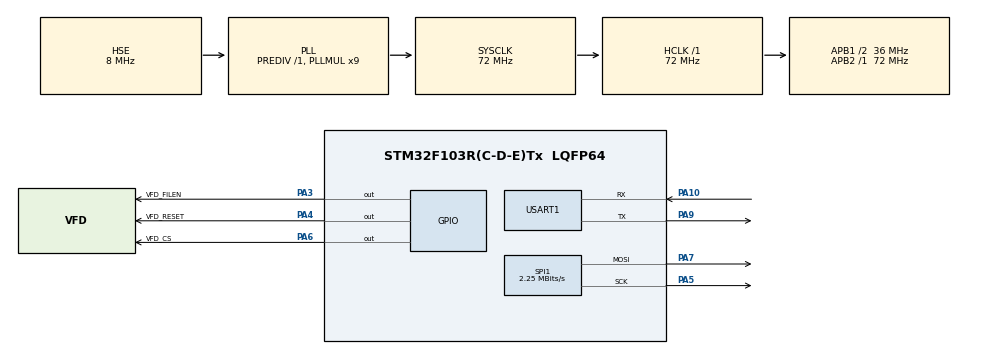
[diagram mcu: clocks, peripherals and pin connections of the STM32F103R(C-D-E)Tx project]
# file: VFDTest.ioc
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Mcu.Family=STM32F1
Mcu.Name=STM32F103R(C-D-E)Tx
Mcu.Package=LQFP64
NVIC.PriorityGroup=NVIC_PRIORITYGROUP_4
PA10.Mode=Asynchronous
PA10.Signal=USART1_RX
PA3.GPIO_Label=VFD_FILEN
PA3.Signal=GPIO_Output
PA4.GPIO_Label=VFD_RESET
PA4.GPIO_Speed=GPIO_SPEED_FREQ_HIGH
PA4.Signal=GPIO_Output
PA5.Mode=TX_Only_Simplex_Unidirect_Master
PA5.Signal=SPI1_SCK
PA6.GPIO_Label=VFD_CS
PA6.GPIO_Speed=GPIO_SPEED_FREQ_HIGH
PA6.PinState=GPIO_PIN_SET
PA6.Signal=GPIO_Output
PA7.Mode=TX_Only_Simplex_Unidirect_Master
PA7.Signal=SPI1_MOSI
PA9.Mode=Asynchronous
PA9.Signal=USART1_TX
PC14-OSC32_IN.Mode=LSE-External-Oscillator
PC14-OSC32_IN.Signal=RCC_OSC32_IN
PC15-OSC32_OUT.Mode=LSE-External-Oscillator
PC15-OSC32_OUT.Signal=RCC_OSC32_OUT
PD0-OSC_IN.Mode=HSE-External-Oscillator
PD0-OSC_IN.Signal=RCC_OSC_IN
PD1-OSC_OUT.Mode=HSE-External-Oscillator
PD1-OSC_OUT.Signal=RCC_OSC_OUT
ProjectManager.HeapSize=0x200
ProjectManager.StackSize=0x400
ProjectManager.TargetToolchain=STM32CubeIDE
RCC.AHBFreq_Value=72000000
RCC.APB1CLKDivider=RCC_HCLK_DIV2
RCC.APB1Freq_Value=36000000
RCC.APB1TimFreq_Value=72000000
RCC.APB2Freq_Value=72000000
RCC.APB2TimFreq_Value=72000000
RCC.HCLKFreq_Value=72000000
RCC.PLLMUL=RCC_PLL_MUL9
RCC.PLLSourceVirtual=RCC_PLLSOURCE_HSE
RCC.RTCClockSelection=RCC_RTCCLKSOURCE_LSE
RCC.SYSCLKFreq_VALUE=72000000
RCC.SYSCLKSource=RCC_SYSCLKSOURCE_PLLCLK
RCC.USBFreq_Value=72000000
RTC.Format=RTC_FORMAT_BCD
SPI1.BaudRatePrescaler=SPI_BAUDRATEPRESCALER_32
SPI1.CLKPhase=SPI_PHASE_2EDGE
SPI1.CLKPolarity=SPI_POLARITY_HIGH
SPI1.CalculateBaudRate=2.25 MBits/s
SPI1.Direction=SPI_DIRECTION_2LINES
SPI1.FirstBit=SPI_FIRSTBIT_LSB
SPI1.Mode=SPI_MODE_MASTER
SPI1.VirtualType=VM_MASTER
USART1.VirtualMode=VM_ASYNC
USART1.WordLength=WORDLENGTH_8B
VP_RTC_VS_RTC_Activate.Mode=RTC_Enabled
VP_SYS_VS_ND.Mode=No_Debug
board=custom

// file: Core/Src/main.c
/* USER CODE BEGIN Header */
/**
  ******************************************************************************
  * @file           : main.c
  * @brief          : Main program body
  ******************************************************************************
  * @attention
  *
  * Copyright (c) 2022 STMicroelectronics.
  * All rights reserved.
  *
  * This software is licensed under terms that can be found in the LICENSE file
  * in the root directory of this software component.
  * If no LICENSE file comes with this software, it is provided AS-IS.
  *
  ******************************************************************************
  */
/* USER CODE END Header */
#include "main.h"

/* USER CODE BEGIN Includes */
#include <string.h>
#include <ctype.h>

#include "u8g2.h"
#include "u8x8.h"
/* USER CODE END Includes */

RTC_HandleTypeDef hrtc;

SPI_HandleTypeDef hspi1;

UART_HandleTypeDef huart1;

/* USER CODE BEGIN PV */
static u8g2_t u8g2;
static char inTxt[] = "ABCDEabcde";
/* USER CODE END PV */

void SystemClock_Config(void);
static void MX_GPIO_Init(void);
static void MX_RTC_Init(void);
static void MX_SPI1_Init(void);
static void MX_USART1_UART_Init(void);
/* USER CODE BEGIN PFP */
uint8_t u8g2_gpio_and_delay_stm32(U8X8_UNUSED u8x8_t *u8x8, U8X8_UNUSED uint8_t msg, U8X8_UNUSED uint8_t arg_int, U8X8_UNUSED void *arg_ptr);
uint8_t u8x8_byte_4wire_hw_spi(u8x8_t *u8x8, uint8_t msg, uint8_t arg_int, void *arg_ptr);
void draw(u8g2_t *u8g2);
/* USER CODE END PFP */

int main(void)
{

  /* MCU Configuration--------------------------------------------------------*/

  /* Reset of all peripherals, Initializes the Flash interface and the Systick. */
  HAL_Init();

  /* Configure the system clock */
  SystemClock_Config();

  /* Initialize all configured peripherals */
  MX_GPIO_Init();
  MX_RTC_Init();
  MX_SPI1_Init();
  MX_USART1_UART_Init();
  /* USER CODE BEGIN 2 */
  HAL_UART_Transmit(&huart1, (uint8_t*)"Startup...\n", 11, 100);

  HAL_GPIO_WritePin(VFD_RESET_GPIO_Port, VFD_RESET_Pin, GPIO_PIN_RESET);
  HAL_Delay(1);
  HAL_GPIO_WritePin(VFD_RESET_GPIO_Port, VFD_RESET_Pin, GPIO_PIN_SET);
  HAL_Delay(1);

  // And turn the filament on
  HAL_GPIO_WritePin(VFD_FILEN_GPIO_Port, VFD_FILEN_Pin, GPIO_PIN_SET);

  u8g2_Setup_futaba_vfd_gp1287ai_256x50_f(&u8g2, U8G2_R0, u8x8_byte_4wire_hw_spi, u8g2_gpio_and_delay_stm32);
  u8g2_InitDisplay(&u8g2);
  u8g2_SetPowerSave(&u8g2, 0);
  u8g2_SetContrast(&u8g2, 10);
  /* USER CODE END 2 */

  /* Infinite loop */
  /* USER CODE BEGIN WHILE */
  uint_fast8_t contrast = 0;
  while (1)
  {
    /* USER CODE END WHILE */

    /* USER CODE BEGIN 3 */
    u8g2_FirstPage(&u8g2);
    do {
      draw(&u8g2);
    } while (u8g2_NextPage(&u8g2));

    uint8_t inChar;
    if(HAL_UART_Receive(&huart1, &inChar, sizeof(inChar), 0) == HAL_TIMEOUT) {
      // HAL_UART_Transmit(&huart1, (uint8_t*)"None\n", 5, 100);
    } else if(isgraph(inChar) || inChar == ' ') {
      int_fast8_t sLen = strlen(inTxt);
      if(sLen == 10) {
    	  sLen = 0;
    	  // HAL_UART_Transmit(&huart1, (uint8_t*)"Boop\n", 5, 100);
      }
      inTxt[sLen] = inChar;
      inTxt[sLen + 1] = '\0';
      // HAL_UART_Transmit(&huart1, &inChar, sizeof(inChar), 100);
      // HAL_UART_Transmit(&huart1, (uint8_t*)"\n", 1, 100);
      // HAL_UART_Transmit(&huart1, inTxt, strlen(inTxt), 100);
      // HAL_UART_Transmit(&huart1, (uint8_t*)"\n", 1, 100);
    }

    const uint_fast8_t CONTRASTOFFSET = 0x01;
    const uint_fast8_t CONTRASTMAX = 0x20;

    if(!(contrast & CONTRASTMAX)) {
    	u8g2_SetContrast(&u8g2, CONTRASTOFFSET + (contrast & (CONTRASTMAX - 1)));
    } else {
    	u8g2_SetContrast(&u8g2, CONTRASTOFFSET + (CONTRASTMAX - 1) - (contrast & (CONTRASTMAX - 1)));
    }
    contrast++;
    HAL_Delay(100);
  }
  /* USER CODE END 3 */
}

void SystemClock_Config(void)
{
  RCC_OscInitTypeDef RCC_OscInitStruct = {0};
  RCC_ClkInitTypeDef RCC_ClkInitStruct = {0};
  RCC_PeriphCLKInitTypeDef PeriphClkInit = {0};

  /** Initializes the RCC Oscillators according to the specified parameters
  * in the RCC_OscInitTypeDef structure.
  */
  RCC_OscInitStruct.OscillatorType = RCC_OSCILLATORTYPE_HSE|RCC_OSCILLATORTYPE_LSE;
  RCC_OscInitStruct.HSEState = RCC_HSE_ON;
  RCC_OscInitStruct.HSEPredivValue = RCC_HSE_PREDIV_DIV1;
  RCC_OscInitStruct.LSEState = RCC_LSE_ON;
  RCC_OscInitStruct.HSIState = RCC_HSI_ON;
  RCC_OscInitStruct.PLL.PLLState = RCC_PLL_ON;
  RCC_OscInitStruct.PLL.PLLSource = RCC_PLLSOURCE_HSE;
  RCC_OscInitStruct.PLL.PLLMUL = RCC_PLL_MUL9;
  if (HAL_RCC_OscConfig(&RCC_OscInitStruct) != HAL_OK)
  {
    Error_Handler();
  }

  /** Initializes the CPU, AHB and APB buses clocks
  */
  RCC_ClkInitStruct.ClockType = RCC_CLOCKTYPE_HCLK|RCC_CLOCKTYPE_SYSCLK
                              |RCC_CLOCKTYPE_PCLK1|RCC_CLOCKTYPE_PCLK2;
  RCC_ClkInitStruct.SYSCLKSource = RCC_SYSCLKSOURCE_PLLCLK;
  RCC_ClkInitStruct.AHBCLKDivider = RCC_SYSCLK_DIV1;
  RCC_ClkInitStruct.APB1CLKDivider = RCC_HCLK_DIV2;
  RCC_ClkInitStruct.APB2CLKDivider = RCC_HCLK_DIV1;

  if (HAL_RCC_ClockConfig(&RCC_ClkInitStruct, FLASH_LATENCY_2) != HAL_OK)
  {
    Error_Handler();
  }
  PeriphClkInit.PeriphClockSelection = RCC_PERIPHCLK_RTC;
  PeriphClkInit.RTCClockSelection = RCC_RTCCLKSOURCE_LSE;
  if (HAL_RCCEx_PeriphCLKConfig(&PeriphClkInit) != HAL_OK)
  {
    Error_Handler();
  }
}

static void MX_RTC_Init(void)
{

  /** Initialize RTC Only
  */
  hrtc.Instance = RTC;
  hrtc.Init.AsynchPrediv = RTC_AUTO_1_SECOND;
  hrtc.Init.OutPut = RTC_OUTPUTSOURCE_ALARM;
  if (HAL_RTC_Init(&hrtc) != HAL_OK)
  {
    Error_Handler();
  }

}

static void MX_SPI1_Init(void)
{

  /* SPI1 parameter configuration*/
  hspi1.Instance = SPI1;
  hspi1.Init.Mode = SPI_MODE_MASTER;
  hspi1.Init.Direction = SPI_DIRECTION_2LINES;
  hspi1.Init.DataSize = SPI_DATASIZE_8BIT;
  hspi1.Init.CLKPolarity = SPI_POLARITY_HIGH;
  hspi1.Init.CLKPhase = SPI_PHASE_2EDGE;
  hspi1.Init.NSS = SPI_NSS_SOFT;
  hspi1.Init.BaudRatePrescaler = SPI_BAUDRATEPRESCALER_32;
  hspi1.Init.FirstBit = SPI_FIRSTBIT_LSB;
  hspi1.Init.TIMode = SPI_TIMODE_DISABLE;
  hspi1.Init.CRCCalculation = SPI_CRCCALCULATION_DISABLE;
  hspi1.Init.CRCPolynomial = 10;
  if (HAL_SPI_Init(&hspi1) != HAL_OK)
  {
    Error_Handler();
  }

}

static void MX_USART1_UART_Init(void)
{

  huart1.Instance = USART1;
  huart1.Init.BaudRate = 115200;
  huart1.Init.WordLength = UART_WORDLENGTH_8B;
  huart1.Init.StopBits = UART_STOPBITS_1;
  huart1.Init.Parity = UART_PARITY_NONE;
  huart1.Init.Mode = UART_MODE_TX_RX;
  huart1.Init.HwFlowCtl = UART_HWCONTROL_NONE;
  huart1.Init.OverSampling = UART_OVERSAMPLING_16;
  if (HAL_UART_Init(&huart1) != HAL_OK)
  {
    Error_Handler();
  }

}

static void MX_GPIO_Init(void)
{
  GPIO_InitTypeDef GPIO_InitStruct = {0};

  /* GPIO Ports Clock Enable */
  __HAL_RCC_GPIOC_CLK_ENABLE();
  __HAL_RCC_GPIOD_CLK_ENABLE();
  __HAL_RCC_GPIOA_CLK_ENABLE();

  /*Configure GPIO pin Output Level */
  HAL_GPIO_WritePin(GPIOA, VFD_FILEN_Pin|VFD_RESET_Pin, GPIO_PIN_RESET);

  /*Configure GPIO pin Output Level */
  HAL_GPIO_WritePin(VFD_CS_GPIO_Port, VFD_CS_Pin, GPIO_PIN_SET);

  /*Configure GPIO pin : VFD_FILEN_Pin */
  GPIO_InitStruct.Pin = VFD_FILEN_Pin;
  GPIO_InitStruct.Mode = GPIO_MODE_OUTPUT_PP;
  GPIO_InitStruct.Pull = GPIO_NOPULL;
  GPIO_InitStruct.Speed = GPIO_SPEED_FREQ_LOW;
  HAL_GPIO_Init(VFD_FILEN_GPIO_Port, &GPIO_InitStruct);

  /*Configure GPIO pins : VFD_RESET_Pin VFD_CS_Pin */
  GPIO_InitStruct.Pin = VFD_RESET_Pin|VFD_CS_Pin;
  GPIO_InitStruct.Mode = GPIO_MODE_OUTPUT_PP;
  GPIO_InitStruct.Pull = GPIO_NOPULL;
  GPIO_InitStruct.Speed = GPIO_SPEED_FREQ_HIGH;
  HAL_GPIO_Init(GPIOA, &GPIO_InitStruct);

}

/* USER CODE BEGIN 4 */

uint8_t u8g2_gpio_and_delay_stm32(U8X8_UNUSED u8x8_t *u8x8, U8X8_UNUSED uint8_t msg, U8X8_UNUSED uint8_t arg_int, U8X8_UNUSED void *arg_ptr)
{
	switch(msg){
		//Initialize SPI peripheral
		case U8X8_MSG_GPIO_AND_DELAY_INIT:
			/* HAL initialization contains all what we need so we can skip this part. */
			break;
		//Function which implements a delay, arg_int contains the amount of ms
		case U8X8_MSG_DELAY_MILLI:
			HAL_Delay(arg_int);
			break;
		//Function which delays 10us
		case U8X8_MSG_DELAY_10MICRO:
			for (uint16_t n = 0; n < 320; n++) {
				__NOP();
			}
			break;
		//Function which delays 100ns
		case U8X8_MSG_DELAY_100NANO:
			__NOP();
			break;

		//Function which implements a delay, arg_int contains the amount of ns
		case U8X8_MSG_DELAY_NANO:
			for (uint16_t n = 0; n < (arg_int>>4); n++) {
				__NOP();
			}
			break;

		//Function to define the logic level of the clockline
		case U8X8_MSG_GPIO_SPI_CLOCK:
			/*if (arg_int) {
				HAL_GPIO_WritePin(SCK_GPIO_Port, SCK_Pin, RESET);
			} else {
				HAL_GPIO_WritePin(SCK_GPIO_Port, SCK_Pin, SET);
			}*/
		break;
		//Function to define the logic level of the data line to the display
		case U8X8_MSG_GPIO_SPI_DATA:
			/*if (arg_int) {
				HAL_GPIO_WritePin(MOSI_GPIO_Port, MOSI_Pin, SET);
			} else {
				HAL_GPIO_WritePin(MOSI_GPIO_Port, MOSI_Pin, RESET);
			}*/

		break;
		// Function to define the logic level of the CS line
		case U8X8_MSG_GPIO_CS:
			if (arg_int) {
				HAL_GPIO_WritePin(VFD_CS_GPIO_Port, VFD_CS_Pin, GPIO_PIN_SET);
			} else {
				HAL_GPIO_WritePin(VFD_CS_GPIO_Port, VFD_CS_Pin, GPIO_PIN_RESET);
			}

		break;
		//Function to define the logic level of the Data/ Command line
		case U8X8_MSG_GPIO_DC:
			/*if (arg_int) {
				HAL_GPIO_WritePin(VFD_DC_GPIO_Port, VFD_DC_Pin, GPIO_PIN_SET);
			} else {
				HAL_GPIO_WritePin(VFD_DC_GPIO_Port, VFD_DC_Pin, GPIO_PIN_RESET);
			}*/

		break;
		//Function to define the logic level of the RESET line
		case U8X8_MSG_GPIO_RESET:
			if (arg_int) {
				HAL_GPIO_WritePin(VFD_RESET_GPIO_Port, VFD_RESET_Pin, GPIO_PIN_SET);
			} else {
				HAL_GPIO_WritePin(VFD_RESET_GPIO_Port, VFD_RESET_Pin, GPIO_PIN_RESET);
			}

		break;
		default:
			return 0; //A message was received which is not implemented, return 0 to indicate an error
	}

	return 1; // command processed successfully.
}

uint8_t u8x8_byte_4wire_hw_spi(u8x8_t *u8x8, uint8_t msg, uint8_t arg_int, void *arg_ptr)
{
  switch (msg) {
    case U8X8_MSG_BYTE_INIT:
      u8x8_gpio_SetCS(u8x8, u8x8->display_info->chip_disable_level);
      uint8_t dSend = 0x0F;
      HAL_SPI_Transmit(&hspi1, &dSend, sizeof(dSend), 100);
      break;
    case U8X8_MSG_BYTE_SET_DC:
      u8x8_gpio_SetDC(u8x8, arg_int);
      break;
    case U8X8_MSG_BYTE_START_TRANSFER:
      u8x8_gpio_SetCS(u8x8, u8x8->display_info->chip_enable_level);
      break;
    case U8X8_MSG_BYTE_SEND:
      HAL_SPI_Transmit(&hspi1, arg_ptr, arg_int, 100);
      break;
    case U8X8_MSG_BYTE_END_TRANSFER:
      u8x8_gpio_SetCS(u8x8, u8x8->display_info->chip_disable_level);
      break;
    default:
      return 0;
  }

  return 1;
}

void draw(u8g2_t *u8g2)
{
  static uint_fast16_t ssLPos = 0;

  u8g2_SetFontMode(u8g2, 1);  // Transparent
  u8g2_SetDrawColor(u8g2,1);

  u8g2_DrawLine(u8g2,0,0,10,0);
  u8g2_DrawLine(u8g2,0,0,0,10);

  u8g2_DrawLine(u8g2,0,49,10,49);
  u8g2_DrawLine(u8g2,0,40,0,50);

  u8g2_DrawLine(u8g2,245,49,255,49);
  u8g2_DrawLine(u8g2,255,40,255,50);

  u8g2_DrawLine(u8g2,245,0,255,0);
  u8g2_DrawLine(u8g2,255,0,255,10);

  u8g2_DrawFrame(u8g2,5,16,30,30);

  u8g2_DrawLine(u8g2,37,45,68,45);
  u8g2_DrawLine(u8g2,52,15,37,45);
  u8g2_DrawLine(u8g2,52,15,68,45);

  u8g2_DrawCircle(u8g2,83,30,15,U8G2_DRAW_ALL);

  u8g2_SetFont(u8g2, u8g2_font_6x12_tf);
  u8g2_DrawStr(u8g2, 5,10,"GP1287BI 256x50");
  u8g2_DrawStr(u8g2, 194,10,"By U8G2");
  char stringLine[25];
  strncpy(stringLine, "Draw String : ", 15);
  strncat(stringLine, inTxt, 10);
  u8g2_DrawStr(u8g2, 110,20,stringLine);
  u8g2_DrawStr(u8g2, 110,30,"Draw Number : 12345678");
  u8g2_DrawStr(u8g2, 110,40,"Draw Float  : 3.141592");

  u8g2_SetDrawColor(u8g2,2);
  u8g2_DrawBox(u8g2,108,2,80,10);
  u8g2_DrawBox(u8g2,108,42,133,7);

  u8g2_DrawStr(u8g2, 110,10,"Color Invert");

  u8g2_DrawLine(u8g2, ssLPos & 0xFF, 0, ssLPos & 0xFF, 49);
  ssLPos++;
}

/* USER CODE END 4 */

void Error_Handler(void)
{
  __disable_irq();
  while (1)
  {
  }
}
